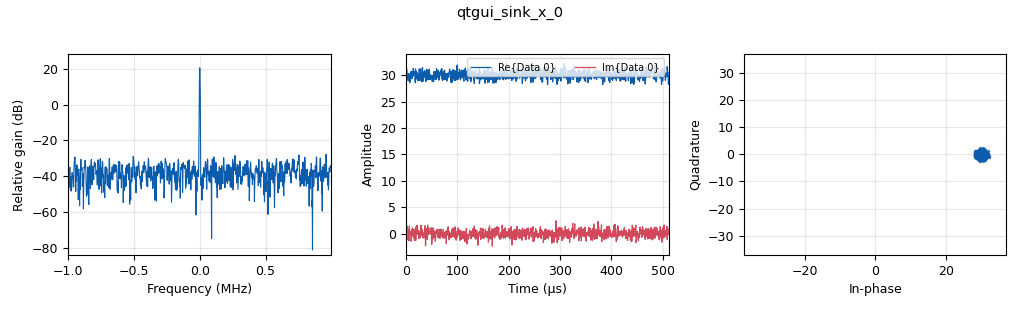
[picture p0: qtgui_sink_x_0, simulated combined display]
options:
  parameters:
    author: admir
    generate_options: qt_gui
    id: areebjam
    output_language: python
    title: Not titled yet
  states: {}

blocks:
- name: samp_rate
  id: variable
  parameters:
    value: 2e6
  states: {}
- name: analog_noise_source_x_0
  id: analog_noise_source_x
  parameters:
    amp: '1'
    noise_type: analog.GR_GAUSSIAN
    seed: '0'
    type: complex
  states: {}
- name: blocks_add_const_vxx_0
  id: blocks_add_const_vxx
  parameters:
    const: '30'
    type: complex
  states: {}
- name: blocks_throttle2_0
  id: blocks_throttle2
  parameters:
    samples_per_second: samp_rate
    type: complex
  states: {}
- name: osmosdr_sink_0
  id: osmosdr_sink
  parameters:
    bb_gain0: '20'
    freq0: 5.74e9
    gain0: '0'
    if_gain0: '47'
    sample_rate: samp_rate
    sync: sync
    type: fc32
  states: {}
- name: qtgui_sink_x_0
  id: qtgui_sink_x
  parameters:
    bw: samp_rate
    fc: '0'
    fftsize: '1024'
    type: complex
  states: {}

connections:
- [analog_noise_source_x_0, '0', blocks_add_const_vxx_0, '0']
- [blocks_add_const_vxx_0, '0', blocks_throttle2_0, '0']
- [blocks_add_const_vxx_0, '0', osmosdr_sink_0, '0']
- [blocks_throttle2_0, '0', qtgui_sink_x_0, '0']

metadata:
  file_format: 1
  grc_version: 3.10.10.0
